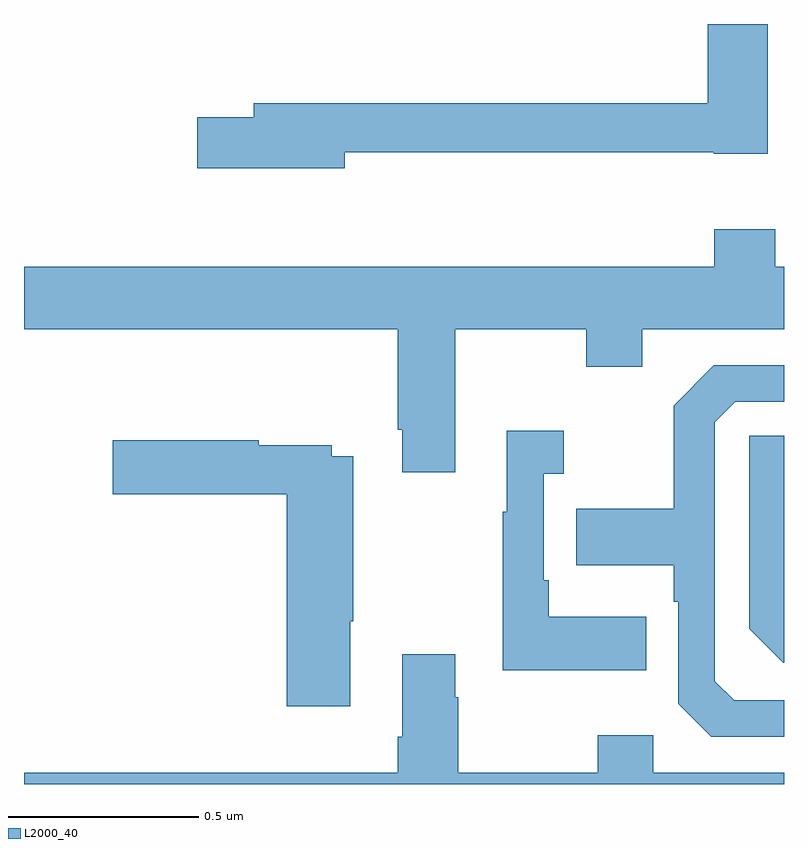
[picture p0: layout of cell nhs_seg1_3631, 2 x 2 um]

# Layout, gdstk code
import gdstk
lib = gdstk.Library(unit=1e-6, precision=1e-09)
def P(c, l, *ps):  # polygons
    for p in ps: c.add(gdstk.Polygon(p, *l))
L2000_40 = (2000, 40)

nhs_seg1_3631 = lib.new_cell('nhs_seg1_3631')
P(nhs_seg1_3631, L2000_40, [(156.844,554.862),(157.815,554.862),(157.815,554.858),(157.957,554.858),(157.957,555.199),(157.799,555.199),(157.799,554.99),(156.605,554.99),(156.605,554.954),(156.456,554.954),(156.456,554.819),(156.844,554.819)],
  [(157.135,554.396),(157.48,554.396),(157.48,554.297),(157.627,554.297),(157.627,554.396),(158,554.396),(158,554.56),(157.977,554.56),(157.977,554.659),(157.817,554.659),(157.817,554.56),(156,554.56),(156,554.396),(156.983,554.396),(156.983,554.131),(156.995,554.131),(156.995,554.019),(157.135,554.019)],
  [(158,553.419),(157.869,553.419),(157.818,553.47),(157.818,554.151),(157.872,554.205),(158,554.205),(158,554.301),(157.815,554.301),(157.71,554.195),(157.71,553.923),(157.453,553.923),(157.453,553.775),(157.71,553.775),(157.71,553.679),(157.722,553.679),(157.722,553.41),(157.809,553.323),(158,553.323)],
  [(157.637,553.639),(157.381,553.639),(157.381,553.735),(157.368,553.735),(157.368,554.015),(157.42,554.015),(157.42,554.128),(157.271,554.128),(157.271,553.915),(157.26,553.915),(157.26,553.499),(157.637,553.499)],
  [(158,554.115),(157.908,554.115),(157.908,553.608),(157.998,553.518),(158,553.518)],
  [(156.859,553.627),(156.867,553.627),(156.867,554.062),(156.81,554.062),(156.81,554.091),(156.618,554.091),(156.618,554.103),(156.234,554.103),(156.234,553.961),(156.692,553.961),(156.692,553.404),(156.859,553.404)],
  [(158,553.228),(157.656,553.228),(157.656,553.327),(157.51,553.327),(157.51,553.228),(157.143,553.228),(157.143,553.427),(157.135,553.427),(157.135,553.54),(156.995,553.54),(156.995,553.324),(156.983,553.324),(156.983,553.228),(156,553.228),(156,553.199),(158,553.199)])

lib.write_gds('nhs_seg1_3631.gds')
